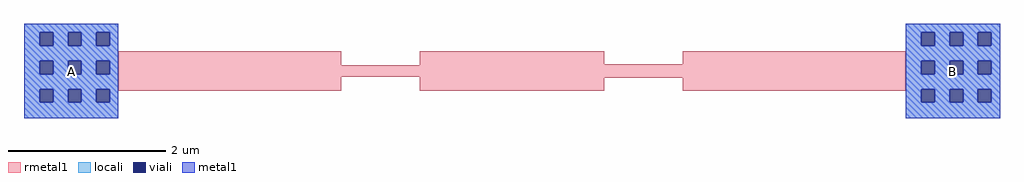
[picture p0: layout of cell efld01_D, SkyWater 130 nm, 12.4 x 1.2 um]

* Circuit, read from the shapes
.subckt efld01_D A B
R1 B A sky130_fd_pr__res_generic_m1 w=0.5 l=8.62
.ends

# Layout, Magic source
magic
tech sky130A
magscale 1 2
<< locali >>
rect 0 218 240 240
rect 0 184 40 218
rect 74 184 112 218
rect 146 184 184 218
rect 218 184 240 218
rect 0 146 240 184
rect 0 112 40 146
rect 74 112 112 146
rect 146 112 184 146
rect 218 112 240 146
rect 0 74 240 112
rect 0 40 40 74
rect 74 40 112 74
rect 146 40 184 74
rect 218 40 240 74
rect 0 0 240 40
rect 2240 218 2480 240
rect 2240 184 2280 218
rect 2314 184 2352 218
rect 2386 184 2424 218
rect 2458 184 2480 218
rect 2240 146 2480 184
rect 2240 112 2280 146
rect 2314 112 2352 146
rect 2386 112 2424 146
rect 2458 112 2480 146
rect 2240 74 2480 112
rect 2240 40 2280 74
rect 2314 40 2352 74
rect 2386 40 2424 74
rect 2458 40 2480 74
rect 2240 0 2480 40
<< viali >>
rect 40 184 74 218
rect 112 184 146 218
rect 184 184 218 218
rect 40 112 74 146
rect 112 112 146 146
rect 184 112 218 146
rect 40 40 74 74
rect 112 40 146 74
rect 184 40 218 74
rect 2280 184 2314 218
rect 2352 184 2386 218
rect 2424 184 2458 218
rect 2280 112 2314 146
rect 2352 112 2386 146
rect 2424 112 2458 146
rect 2280 40 2314 74
rect 2352 40 2386 74
rect 2424 40 2458 74
<< metal1 >>
rect 0 218 240 240
rect 0 184 40 218
rect 74 184 112 218
rect 146 184 184 218
rect 218 184 240 218
rect 0 146 240 184
rect 2240 218 2480 240
rect 2240 184 2280 218
rect 2314 184 2352 218
rect 2386 184 2424 218
rect 2458 184 2480 218
rect 0 112 40 146
rect 74 112 112 146
rect 146 112 184 146
rect 218 112 240 146
rect 2240 146 2480 184
rect 0 74 240 112
rect 2240 112 2280 146
rect 2314 112 2352 146
rect 2386 112 2424 146
rect 2458 112 2480 146
rect 0 40 40 74
rect 74 40 112 74
rect 146 40 184 74
rect 218 40 240 74
rect 2240 74 2480 112
rect 0 0 240 40
rect 2240 40 2280 74
rect 2314 40 2352 74
rect 2386 40 2424 74
rect 2458 40 2480 74
rect 2240 0 2480 40
<< rmetal1 >>
rect 240 134 806 170
rect 1006 137 1474 170
rect 1674 137 2240 170
rect 1006 134 2240 137
rect 240 106 2240 134
rect 240 70 806 106
rect 1006 103 2240 106
rect 1006 70 1474 103
rect 1674 70 2240 103
<< labels >>
flabel metal1 0 0 240 240 1 FreeSans 480 0 0 0 A
port 1 n
flabel metal1 2240 0 2480 240 1 FreeSans 480 0 0 0 B
port 2 n
<< end >>
